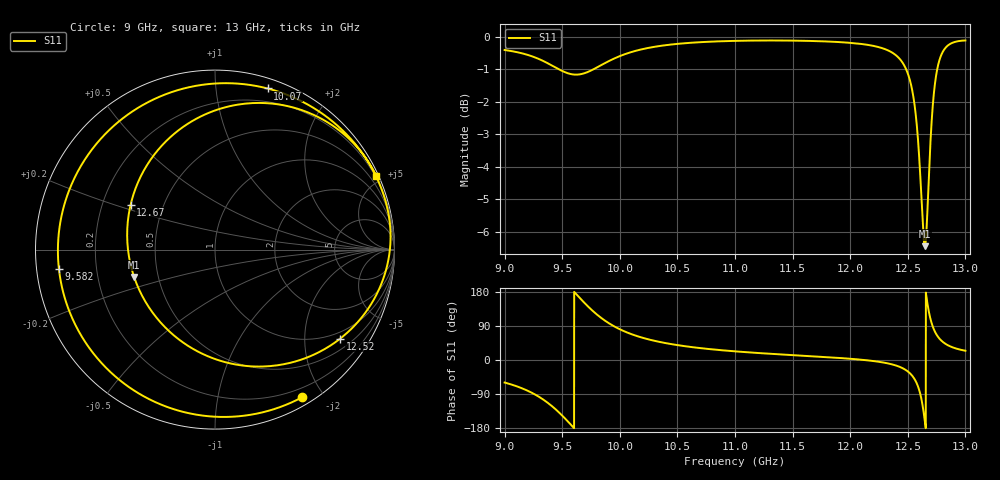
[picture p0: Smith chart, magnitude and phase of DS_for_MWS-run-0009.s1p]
! TOUCHSTONE file generated by CST DESIGN STUDIO
! Date and time: Wed Feb  5 13:21:55 2025
! Project name: C:\Work\MatlabApps\UnitCellOptimizationMatlab\CST\unitcell.cst
! Tree item: Tasks\Sweep1\SPara1\S-Parameters
! Header version: 2024
! Port assignment regex: !\s*Touchstone port\s*([0-9]+)\s*=\s*(CST MWS port|CST DES external port|CST DES block port)\s*(.+)\s* \(\"(.*)\"\)(\s*mode\s*([0-9]+))?.*
! Touchstone port assignment:
! Touchstone port 1 = CST DES external port 1 ("")
# GHz S MA R 50
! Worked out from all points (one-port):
!   4001 points, 9 GHz to 13 GHz, reference 50 ohm
!   lowest |S11| = -6.5 dB at 12.65 GHz (marker M1), VSWR 2.82, Z = 18.2 - j7.15 ohm
!   |S11| at or under -10 dB: nowhere
!   S11 on the Smith chart (normalised r, x): 9 GHz: 0.09, -1.75; 9.582 GHz: 0.07, -0.06; 10.07 GHz: 0.08, +1.38; 12.52 GHz: 0.79, -2.94; 12.67 GHz: 0.32, +0.23; 13 GHz: 0.14, +4.62
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9  0.9551 -59.5
9.159  0.9431 -75.7
9.31  0.9229 -99.3
9.409  0.9042 -121.3
9.5  0.8865 -146.7
9.582  0.8763 -172.9
9.672  0.8773 157.4
9.785  0.8944 124.2
10  0.9346 81.1
10.069  0.9443 71.9
10.258  0.9629 53.7
10.5  0.976 39.3
11  0.9865 22.8
11.5  0.9874 12.9
12  0.9795 3.3
12.317  0.9557 -8.3
12.5  0.8787 -30.2
12.52  0.8557 -35.5
12.563  0.7753 -52.7
12.6  0.6483 -80.3
12.624  0.5388 -112.2
12.648  0.4758 -161.3
12.669  0.5326 152.0
12.701  0.7114 103.5
12.736  0.8481 74.4
12.777  0.9241 55.6
12.828  0.9628 42.4
13  0.988 24.4
